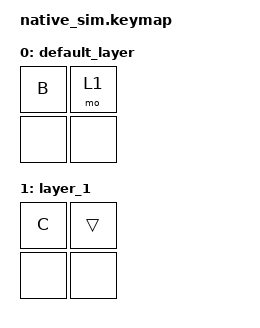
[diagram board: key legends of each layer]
#include <dt-bindings/zmk/keys.h>
#include <behaviors.dtsi>
#include <dt-bindings/zmk/input_matrix_mock.h>
#include "../behavior_keymap.dtsi"

/ {
    keymap {
        compatible = "zmk,keymap";

        default_layer {
            bindings = <
                &kp B &mo 1
                &none &none>;
        };

        layer_1 {
            bindings = <
                &kp C &trans
                &none &none>;
        };
    };
};

&matrix {
    events = <
        ZMK_MOCK_PRESS(0,1,10)
        ZMK_MOCK_PRESS(0,0,10)
        ZMK_MOCK_RELEASE(0,0,10)
        ZMK_MOCK_RELEASE(0,1,10)
    >;
};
